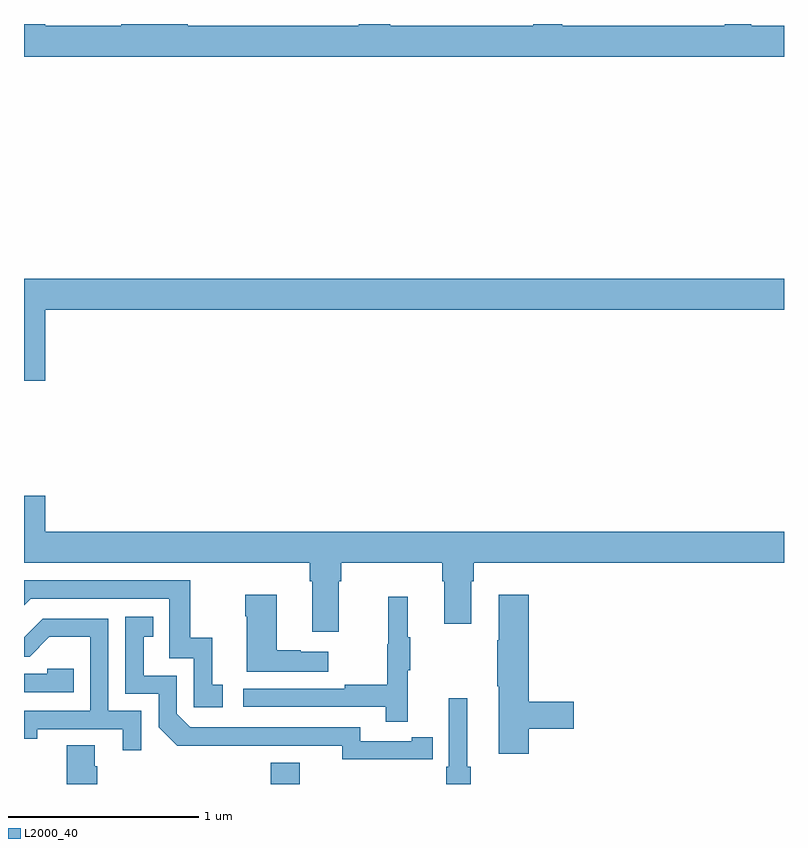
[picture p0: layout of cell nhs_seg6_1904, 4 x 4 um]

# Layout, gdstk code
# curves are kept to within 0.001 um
import gdstk
lib = gdstk.Library(unit=1e-6, precision=1e-09)
def R(c, l, rs):  # rectangles x0, y0, x1, y1
    for r in rs: c.add(gdstk.rectangle(r[:2], r[2:], *l))
def P(c, l, *ps):  # polygons
    for p in ps: c.add(gdstk.Polygon(p, *l))
L2000_40 = (2000, 40)

nhs_seg6_1904 = lib.new_cell('nhs_seg6_1904')
R(nhs_seg6_1904, L2000_40, [(226.298,951.5,226.45,951.613)])
P(nhs_seg6_1904, L2000_40, [(229,955.492),(228.828,955.492),(228.828,955.5),(228.689,955.5),(228.689,955.492),(227.833,955.492),(227.833,955.5),(227.681,955.5),(227.681,955.492),(226.928,955.492),(226.928,955.5),(226.763,955.5),(226.763,955.492),(225.862,955.492),(225.862,955.5),(225.512,955.5),(225.512,955.492),(225.112,955.492),(225.112,955.5),(225,955.5),(225,955.328),(229,955.328)],
  [(225.112,953.996),(229,953.996),(229,954.16),(225,954.16),(225,953.622),(225.112,953.622)],
  [(226.657,952.568),(226.67,952.568),(226.67,952.664),(227.201,952.664),(227.201,952.568),(227.213,952.568),(227.213,952.344),(227.353,952.344),(227.353,952.568),(227.366,952.568),(227.366,952.664),(229,952.664),(229,952.828),(225.112,952.828),(225.112,953.017),(225,953.017),(225,952.664),(226.505,952.664),(226.505,952.568),(226.517,952.568),(226.517,952.302),(226.657,952.302)],
  [(226.045,952.023),(225.992,952.023),(225.992,952.27),(225.874,952.27),(225.874,952.572),(225,952.572),(225,952.44),(225.036,952.476),(225.765,952.476),(225.765,952.161),(225.894,952.161),(225.894,951.903),(226.045,951.903)],
  [(226.6,952.195),(226.457,952.195),(226.457,952.205),(226.33,952.205),(226.33,952.495),(226.165,952.495),(226.165,952.382),(226.172,952.382),(226.172,952.091),(226.6,952.091)],
  [(227.657,951.79),(227.893,951.79),(227.893,951.932),(227.657,951.932),(227.657,952.495),(227.498,952.495),(227.498,952.256),(227.491,952.256),(227.491,952.015),(227.498,952.015),(227.498,951.66),(227.657,951.66)],
  [(227.021,952.099),(227.032,952.099),(227.032,952.273),(227.021,952.273),(227.021,952.486),(226.918,952.486),(226.918,952.236),(226.911,952.236),(226.911,952.022),(226.687,952.022),(226.687,952.002),(226.155,952.002),(226.155,951.906),(226.903,951.906),(226.903,951.828),(227.021,951.828)],
  [(227.042,951.63),(227.15,951.63),(227.15,951.746),(227.042,951.746),(227.042,951.726),(226.77,951.726),(226.77,951.798),(225.876,951.798),(225.804,951.87),(225.804,952.071),(225.631,952.071),(225.631,952.275),(225.68,952.275),(225.68,952.381),(225.534,952.381),(225.534,951.975),(225.708,951.975),(225.708,951.798),(225.806,951.701),(226.674,951.702),(226.674,951.629)],
  [(225.618,951.885),(225.444,951.885),(225.444,952.371),(225.098,952.371),(225,952.273),(225,952.17),(225.03,952.17),(225.134,952.274),(225.348,952.274),(225.348,951.885),(225,951.885),(225,951.738),(225.07,951.738),(225.07,951.789),(225.521,951.789),(225.521,951.678),(225.618,951.678)],
  [(225.263,952.107),(225.123,952.107),(225.123,952.08),(225,952.08),(225,951.984),(225.263,951.984)],
  [(227.351,951.592),(227.332,951.592),(227.332,951.952),(227.235,951.952),(227.235,951.592),(227.222,951.592),(227.222,951.5),(227.351,951.5)],
  [(225.386,951.594),(225.373,951.594),(225.373,951.704),(225.226,951.704),(225.226,951.5),(225.386,951.5)])

lib.write_gds('nhs_seg6_1904.gds')
